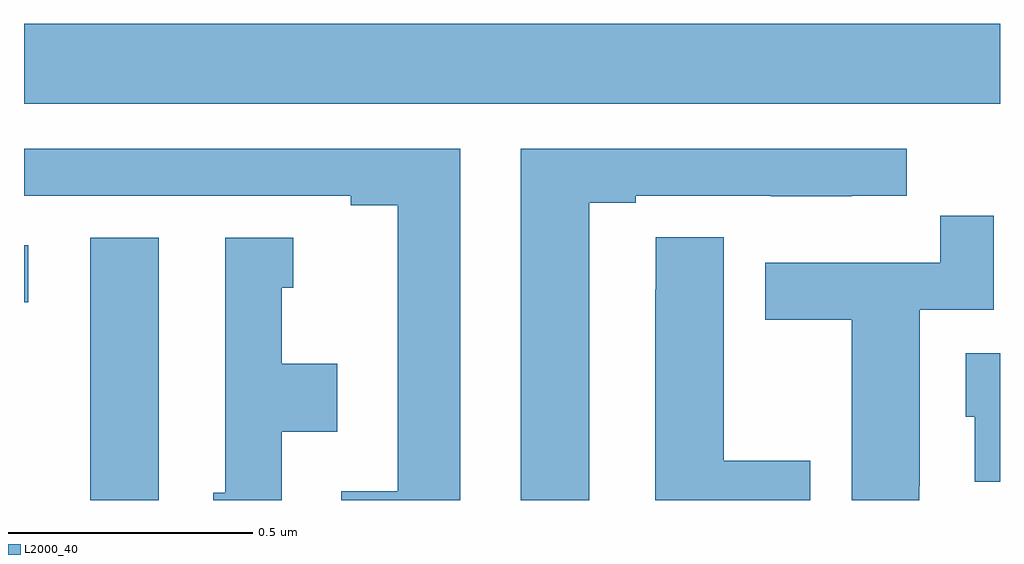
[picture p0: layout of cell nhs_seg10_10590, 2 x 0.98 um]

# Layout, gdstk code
import gdstk
lib = gdstk.Library(unit=1e-6, precision=1e-09)
def R(c, l, rs):  # rectangles x0, y0, x1, y1
    for r in rs: c.add(gdstk.rectangle(r[:2], r[2:], *l))
def P(c, l, *ps):  # polygons
    for p in ps: c.add(gdstk.Polygon(p, *l))
L2000_40 = (2000, 40)

nhs_seg10_10590 = lib.new_cell('nhs_seg10_10590')
R(nhs_seg10_10590, L2000_40, [(244.136,1303.5,244.276,1304.038), (244,1303.906,244.009,1304.022), (244,1304.312,246,1304.476)])
P(nhs_seg10_10590, L2000_40, [(245.158,1304.109),(245.254,1304.109),(245.254,1304.124),(245.53,1304.124),(245.53,1304.123),(245.696,1304.123),(245.696,1304.124),(245.809,1304.124),(245.809,1304.22),(245.018,1304.22),(245.018,1303.5),(245.158,1303.5)],
  [(244.894,1304.22),(244,1304.22),(244,1304.124),(244.67,1304.124),(244.67,1304.104),(244.766,1304.104),(244.766,1303.518),(244.65,1303.518),(244.65,1303.5),(244.894,1303.5)],
  [(245.835,1303.528),(245.836,1303.528),(245.836,1303.89),(245.987,1303.89),(245.987,1304.083),(245.878,1304.083),(245.878,1303.986),(245.519,1303.986),(245.519,1303.87),(245.696,1303.87),(245.696,1303.5),(245.835,1303.5)],
  [(245.611,1303.581),(245.434,1303.581),(245.434,1304.039),(245.295,1304.039),(245.295,1303.931),(245.294,1303.931),(245.294,1303.5),(245.611,1303.5)],
  [(244.528,1303.64),(244.642,1303.64),(244.642,1303.78),(244.528,1303.78),(244.528,1303.935),(244.552,1303.935),(244.552,1304.038),(244.412,1304.038),(244.412,1303.515),(244.388,1303.515),(244.388,1303.5),(244.528,1303.5)],
  [(246,1303.801),(245.93,1303.801),(245.93,1303.671),(245.948,1303.671),(245.948,1303.538),(246,1303.538)])

lib.write_gds('nhs_seg10_10590.gds')
